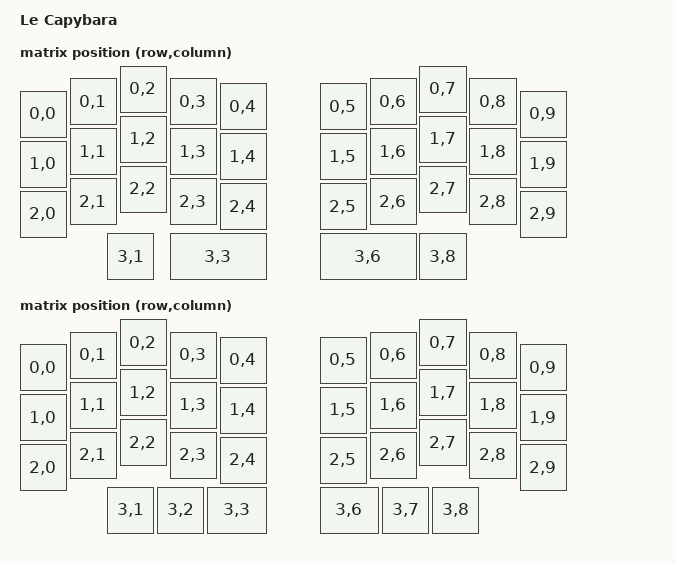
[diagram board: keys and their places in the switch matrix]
/*
 * Copyright (c) 2020 The ZMK Contributors
 *
 * SPDX-License-Identifier: MIT
 */

/dts-v1/;
#include <st/f0/stm32f072Xb.dtsi>
#include <st/f0/stm32f072v(8-b)tx-pinctrl.dtsi>

#include <zephyr/dt-bindings/dt-util.h>
#include <zephyr/dt-bindings/adc/adc.h>

#include <dt-bindings/zmk/matrix_transform.h>
#include <physical_layouts.dtsi>

&adc1 {
	status = "okay";

	pinctrl-0 = <&adc_in2_pa2>;
	pinctrl-names = "default";

	// clocks = <&rcc STM32_CLOCK(APB2, 9U), &clk_hsi14>;

	#address-cells = <1>;
	#size-cells = <0>;

	st,adc-clock-source = "SYNC";
	st,adc-prescaler = <4>;

	channel@2 {
		reg = <2>;
		zephyr,gain = "ADC_GAIN_1";
		zephyr,reference = "ADC_REF_INTERNAL";
		zephyr,acquisition-time = <ADC_ACQ_TIME_DEFAULT>;
		zephyr,resolution = <12>;
	};
};

&pinctrl {
    ec_pin1: ec_pin1 {
        pinmux = <STM32_PINMUX('A', 3, GPIO)>;

        slew-rate = "very-high-speed";
    };

    ec_pin2: ec_pin2 {
        pinmux = <STM32_PINMUX('A', 5, GPIO)>;

        slew-rate = "very-high-speed";
    };

    ec_pin3: ec_pin3 {
        pinmux = <STM32_PINMUX('A', 7, GPIO)>;

        slew-rate = "very-high-speed";
    };

    ec_pin4: ec_pin4 {
        pinmux = <STM32_PINMUX('B', 1, GPIO)>;

        slew-rate = "very-high-speed";
    };
};

#define EC_MATRIX(_name, _bottom_mask)                     \
    _name: _name {                                         \
        pinctrl-0 = <&ec_pin1 &ec_pin2 &ec_pin3 &ec_pin4>; \
        pinctrl-names = "default";                         \
        compatible = "zmk,kscan-ec-matrix";                \
        input-gpios                                        \
            = <&left_mux 0 0>                              \
            , <&left_mux 1 0>                              \
            , <&left_mux 2 0>                              \
            , <&left_mux 3 0>                              \
            , <&left_mux 4 0>                              \
            , <&right_mux 2 0>                             \
            , <&right_mux 4 0>                             \
            , <&right_mux 6 0>                             \
            , <&right_mux 7 0>                             \
            , <&right_mux 5 0>                             \
        ;                                                  \
        strobe-gpios                                       \
            = <&gpioa 3 GPIO_ACTIVE_HIGH>                  \
            , <&gpioa 5 GPIO_ACTIVE_HIGH>                  \
            , <&gpioa 7 GPIO_ACTIVE_HIGH>                  \
            , <&gpiob 1 GPIO_ACTIVE_HIGH>                  \
            ;                                              \
        io-channels = <&adc1 2>;                           \
        matrix-relax-us = <1>;                             \
        strobe-input-masks = <0 0 0 _bottom_mask>;         \
        drain-gpios = <&gpioa 1 GPIO_OPEN_DRAIN>;          \
    };

/ {
    model = "Le Capybara";
    compatible = "sporkus,le_capybara", "st,stm32f072";

    chosen {
        zephyr,sram = &sram0;
        zephyr,flash = &flash0;
	zmk,physical-layout = &layout;
        /* TODO: Enable once we support the IC for underglow
        zmk,underglow = &led_strip;
         */
    };

    layout: layout {
        compatible = "zmk,physical-layout";
	display-name = "Standard";
	transform = <&transform>;
	kscan = <&matrix>;

	keys
             = <&key_physical_attrs 100 100 000  53 0 0 0>
             , <&key_physical_attrs 100 100 100  28 0 0 0>
             , <&key_physical_attrs 100 100 200  03 0 0 0>
             , <&key_physical_attrs 100 100 300  28 0 0 0>
             , <&key_physical_attrs 100 100 400  38 0 0 0>
             , <&key_physical_attrs 100 100 600  38 0 0 0>
             , <&key_physical_attrs 100 100 700  28 0 0 0>
             , <&key_physical_attrs 100 100 800  03 0 0 0>
             , <&key_physical_attrs 100 100 900  28 0 0 0>
             , <&key_physical_attrs 100 100 1000 53 0 0 0>
             
             , <&key_physical_attrs 100 100 000  153 0 0 0>
             , <&key_physical_attrs 100 100 100  128 0 0 0>
             , <&key_physical_attrs 100 100 200  103 0 0 0>
             , <&key_physical_attrs 100 100 300  128 0 0 0>
             , <&key_physical_attrs 100 100 400  138 0 0 0>
             , <&key_physical_attrs 100 100 600  138 0 0 0>
             , <&key_physical_attrs 100 100 700  128 0 0 0>
             , <&key_physical_attrs 100 100 800  103 0 0 0>
             , <&key_physical_attrs 100 100 900  128 0 0 0>
             , <&key_physical_attrs 100 100 1000 153 0 0 0>
             
             , <&key_physical_attrs 100 100 000  253 0 0 0>
             , <&key_physical_attrs 100 100 100  228 0 0 0>
             , <&key_physical_attrs 100 100 200  203 0 0 0>
             , <&key_physical_attrs 100 100 300  228 0 0 0>
             , <&key_physical_attrs 100 100 400  238 0 0 0>
             , <&key_physical_attrs 100 100 600  238 0 0 0>
             , <&key_physical_attrs 100 100 700  228 0 0 0>
             , <&key_physical_attrs 100 100 800  203 0 0 0>
             , <&key_physical_attrs 100 100 900  228 0 0 0>
             , <&key_physical_attrs 100 100 1000 253 0 0 0>
             
             , <&key_physical_attrs 100 100 175 338 0 0 0>
             , <&key_physical_attrs 200 100 300 338 0 0 0>
             , <&key_physical_attrs 200 100 600 338 0 0 0>
             , <&key_physical_attrs 100 100 800 338 0 0 0>
		;
    };

    thirty_six_layout: thirty_six_layout {
        compatible = "zmk,physical-layout";
	status = "disabled";
	display-name = "36-Key";
	transform = <&thirty_six_transform>;
	kscan = <&thirty_six_matrix>;

	keys
             = <&key_physical_attrs 100 100 000  53 0 0 0>
             , <&key_physical_attrs 100 100 100  28 0 0 0>
             , <&key_physical_attrs 100 100 200  03 0 0 0>
             , <&key_physical_attrs 100 100 300  28 0 0 0>
             , <&key_physical_attrs 100 100 400  38 0 0 0>
             , <&key_physical_attrs 100 100 600  38 0 0 0>
             , <&key_physical_attrs 100 100 700  28 0 0 0>
             , <&key_physical_attrs 100 100 800  03 0 0 0>
             , <&key_physical_attrs 100 100 900  28 0 0 0>
             , <&key_physical_attrs 100 100 1000 53 0 0 0>
             
             , <&key_physical_attrs 100 100 000  153 0 0 0>
             , <&key_physical_attrs 100 100 100  128 0 0 0>
             , <&key_physical_attrs 100 100 200  103 0 0 0>
             , <&key_physical_attrs 100 100 300  128 0 0 0>
             , <&key_physical_attrs 100 100 400  138 0 0 0>
             , <&key_physical_attrs 100 100 600  138 0 0 0>
             , <&key_physical_attrs 100 100 700  128 0 0 0>
             , <&key_physical_attrs 100 100 800  103 0 0 0>
             , <&key_physical_attrs 100 100 900  128 0 0 0>
             , <&key_physical_attrs 100 100 1000 153 0 0 0>
             
             , <&key_physical_attrs 100 100 000  253 0 0 0>
             , <&key_physical_attrs 100 100 100  228 0 0 0>
             , <&key_physical_attrs 100 100 200  203 0 0 0>
             , <&key_physical_attrs 100 100 300  228 0 0 0>
             , <&key_physical_attrs 100 100 400  238 0 0 0>
             , <&key_physical_attrs 100 100 600  238 0 0 0>
             , <&key_physical_attrs 100 100 700  228 0 0 0>
             , <&key_physical_attrs 100 100 800  203 0 0 0>
             , <&key_physical_attrs 100 100 900  228 0 0 0>
             , <&key_physical_attrs 100 100 1000 253 0 0 0>
             
             , <&key_physical_attrs 100 100 175 338 0 0 0>
             , <&key_physical_attrs 100 100 275 338 0 0 0>
             , <&key_physical_attrs 125 100 375 338 0 0 0>
             , <&key_physical_attrs 125 100 600 338 0 0 0>
             , <&key_physical_attrs 100 100 725 338 0 0 0>
             , <&key_physical_attrs 100 100 825 338 0 0 0>
		;
    };

    layout_position_map {
        compatible = "zmk,physical-layout-position-map";

        complete;

        thirty_six {
            physical-layout = <&thirty_six_layout>;
            positions
                = < 0  1  2  3  4  5  6  7  8  9>
                , <10 11 12 13 14 15 16 17 28 29>
                , <20 21 22 23 24 25 36 37 38 39>
                , <      40 41 42 43 44 45      >;
        };

        standard {
            physical-layout = <&layout>;
            positions
                = < 0  1  2  3  4  5  6  7  8  9>
                , <10 11 12 13 14 15 16 17 28 29>
                , <20 21 22 23 24 25 36 37 38 39>
                , <      44 40 41 42 43 45      >;
        };
    };

    transform: transform {
        compatible = "zmk,matrix-transform";
        rows = <4>;
        columns = <10>;

        map = <
        RC(0,0) RC(0,1) RC(0,2) RC(0,3) RC(0,4)     RC(0,5) RC(0,6) RC(0,7) RC(0,8) RC(0,9)
        RC(1,0) RC(1,1) RC(1,2) RC(1,3) RC(1,4)     RC(1,5) RC(1,6) RC(1,7) RC(1,8) RC(1,9)
        RC(2,0) RC(2,1) RC(2,2) RC(2,3) RC(2,4)     RC(2,5) RC(2,6) RC(2,7) RC(2,8) RC(2,9)
                        RC(3,1)     RC(3,3)             RC(3,6)     RC(3,8)
        >;
    };

    thirty_six_transform: thirty_six_transform {
        compatible = "zmk,matrix-transform";
        rows = <4>;
        columns = <10>;

        map = <
        RC(0,0) RC(0,1) RC(0,2) RC(0,3) RC(0,4)     RC(0,5) RC(0,6) RC(0,7) RC(0,8) RC(0,9)
        RC(1,0) RC(1,1) RC(1,2) RC(1,3) RC(1,4)     RC(1,5) RC(1,6) RC(1,7) RC(1,8) RC(1,9)
        RC(2,0) RC(2,1) RC(2,2) RC(2,3) RC(2,4)     RC(2,5) RC(2,6) RC(2,7) RC(2,8) RC(2,9)
                        RC(3,1) RC(3,2) RC(3,3)     RC(3,6) RC(3,7) RC(3,8)
        >;
    };

    left_mux: left_mux {
    	compatible = "zmk,gpio-mux";

        select-gpios
            = <&gpiob 15 GPIO_ACTIVE_HIGH>
            , <&gpiob 14 GPIO_ACTIVE_HIGH>
            , <&gpiob 13 GPIO_ACTIVE_HIGH>
            ;

        en-gpios = <&gpioa 8 GPIO_ACTIVE_LOW>;

        gpio-controller;
        ngpios = <8>;
        #gpio-cells = <2>;
    };

    right_mux: right_mux {
    	compatible = "zmk,gpio-mux";

        select-gpios
            = <&gpiob 15 GPIO_ACTIVE_HIGH>
            , <&gpiob 14 GPIO_ACTIVE_HIGH>
            , <&gpiob 13 GPIO_ACTIVE_HIGH>
            ;

        en-gpios = <&gpioc 14 GPIO_ACTIVE_LOW>;

        gpio-controller;
        ngpios = <8>;
        #gpio-cells = <2>;
    };

    EC_MATRIX(matrix, (BIT(0) + BIT(2) + BIT(4) + BIT(5) + BIT(7) + BIT(9)))
    EC_MATRIX(thirty_six_matrix, (BIT(0) + BIT(4) + BIT(5) + BIT(9)))
};

&thirty_six_matrix {
	status = "disabled";
};

zephyr_udc0: &usb {
    status = "okay";

    pinctrl-0 = <&usb_dm_pa11 &usb_dp_pa12>;
    pinctrl-names = "default";

    // Overriden to lower RAM usage.
    num-bidir-endpoints = <4>;
};

// Enable all the clocks!
&clk_lsi {
    status = "okay";
};

&clk_hsi48 {
    status = "okay";
};

// Enable this clock so we can use async 14MHz ADC clock
&clk_hsi14 {
    status = "okay";
};

&clk_hsi {
    status = "okay";
};

&pll {
    prediv = <1>;
    mul = <6>;
    clocks = <&clk_hsi>;
    status = "okay";
};

&rcc {
    clocks = <&pll>;
    clock-frequency = <DT_FREQ_M(48)>;
    ahb-prescaler = <1>;
    apb1-prescaler = <1>;
};

&rtc {
    status = "okay";
};

&flash0 {
    /*
     * For more information, see:
     * http: //docs.zephyrproject.org/latest/guides/dts/index.html#flash-partitions
     */
    partitions {
        compatible = "fixed-partitions";
        #address-cells = <1>;
        #size-cells = <1>;

        /* Set 6Kb of storage at the end of the 128Kb of flash */
        storage_partition: partition@1e800 {
            label = "storage";
            reg = <0x0001e800 DT_SIZE_K(6)>;
        };
    };
};

&rtc {
	clocks = <&rcc STM32_CLOCK_BUS_APB1 0x10000000>,
		 <&rcc STM32_SRC_LSI RTC_SEL(2)>;
	status = "okay";

	backup_regs {
		status = "okay";
	};
};

&bbram {
	status = "okay";

	retainedmem0: retainedmem {
		compatible = "zephyr,retained-bbram";
		status = "okay";
                #address-cells = <1>;
                #size-cells = <1>;

                retention0: retention@0 {
                        compatible = "zephyr,retention";
                        status = "okay";
                        reg = <0x0 0x1>;
                };
	};
};

/ {
    chosen {
        zephyr,boot-mode = &retention0;
    };
};
